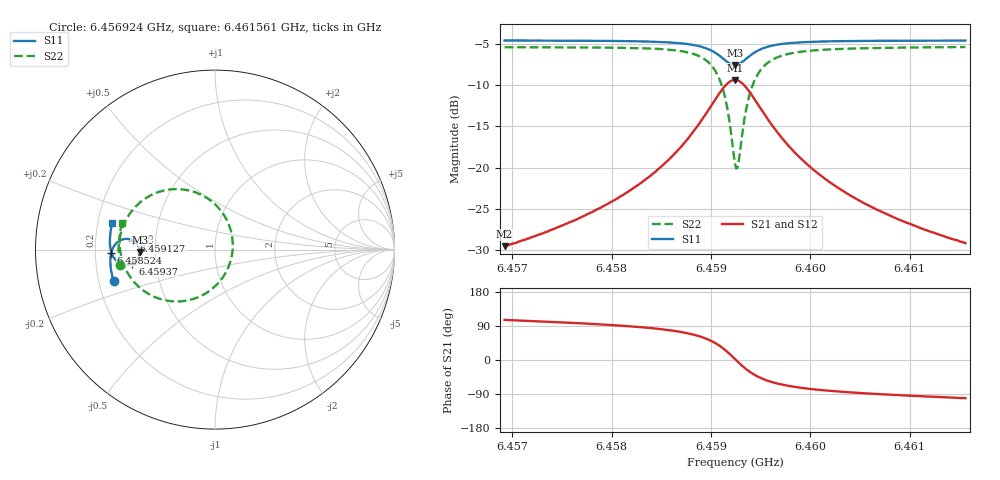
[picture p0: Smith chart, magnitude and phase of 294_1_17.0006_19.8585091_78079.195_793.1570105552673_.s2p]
#  HZ  S  RI  R  50.00
! Rohde & Schwarz Vector Network Analyzer
! Rohde-Schwarz,ZNB20-2Port,1311601062101988,3.16
! Created: UTC 3/20/2024, 11:05:13 PM
! freq[Hz]  re:S11  im:S11  re:S21  im:S21  re:S12  im:S12  re:S22  im:S22
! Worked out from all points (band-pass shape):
!   401 points, 6.456924 GHz to 6.461561 GHz, reference 50 ohm
!   highest |S21| = -9.35 dB at 6.459243 GHz (marker M1); lowest = -29.6 dB at 6.456924 GHz (marker M2)
!   |S21| within 3 dB of the highest: 6.45901 GHz to 6.459475 GHz (464.4 kHz wide, 0.00719 % of centre)
!   lowest |S11| = -7.5 dB at 6.459243 GHz (marker M3), VSWR 2.44, Z = 20.5 - j0.63 ohm
!   |S11| at or under -10 dB: nowhere
!   |S22| runs from -20.1 to -5.3 dB; largest |S21 - S12| = 0.013
!   S11 on the Smith chart (normalised r, x): 6.456924 GHz: 0.26, -0.14; 6.458524 GHz: 0.27, -0.01; 6.459127 GHz: 0.37, +0.05; 6.45937 GHz: 0.37, -0.07; 6.461561 GHz: 0.26, +0.12
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6.4569243e9  -0.5653 -0.1766  -0.00915 0.032  -0.00725 0.0319  -0.5315 -0.0861
6.4577009e9  -0.5799 -0.1089  -0.00578 0.0497  -0.00323 0.0491  -0.5374 0.00358
6.4581182e9  -0.5831 -0.0674  -0.000194 0.0682  0.00292 0.067  -0.53 0.0684
6.4584776e9  -0.5796 -0.0246  0.0136 0.0975  0.0176 0.0949  -0.5047 0.1474
6.4585239e9  -0.5782 -0.0184  0.0169 0.103  0.021 0.1001  -0.4986 0.1605
6.4587326e9  -0.5662 0.0135  0.0427 0.1343  0.0469 0.1297  -0.4503 0.231
6.4588833e9  -0.5451 0.0398  0.085 0.1645  0.0882 0.1578  -0.3729 0.2942
6.459034e9  -0.4991 0.0596  0.1758 0.1833  0.1768 0.1759  -0.2079 0.337
6.4591267e9  -0.4548 0.0497  0.2645 0.1526  0.2649 0.1465  -0.0447 0.2874
6.4591731e9  -0.4338 0.031  0.3076 0.1102  0.309 0.1049  0.0362 0.2125
6.4592426e9  -0.4191 -0.0127  0.3406 0.0146  0.3439 0.00767  0.099 0.0364
6.4592542e9  -0.4194 -0.0206  0.3404 -0.00293  0.3439 -0.0105  0.0986 0.00348
6.4592774e9  -0.4228 -0.0361  0.335 -0.037  0.3385 -0.046  0.0875 -0.0607
6.4593701e9  -0.46 -0.0782  0.2656 -0.1365  0.2646 -0.1493  -0.0519 -0.2439
6.4594165e9  -0.4826 -0.0851  0.2218 -0.1589  0.2179 -0.1713  -0.1391 -0.2799
6.4594744e9  -0.5075 -0.0844  0.1733 -0.1682  0.1667 -0.179  -0.2342 -0.2884
6.4596251e9  -0.5489 -0.0629  0.0911 -0.1521  0.0827 -0.1578  -0.3888 -0.2354
6.4597874e9  -0.5691 -0.0353  0.0491 -0.1251  0.0417 -0.1275  -0.463 -0.1654
6.4600192e9  -0.581 -0.00171  0.0224 -0.0958  0.0165 -0.0965  -0.5065 -0.0889
6.4603554e9  -0.5858 0.038  0.00681 -0.07  0.00263 -0.0697  -0.5272 -0.013
6.4607959e9  -0.5839 0.0822  -0.00138 -0.0511  -0.00408 -0.0503  -0.5315 0.0567
6.4615609e9  -0.5719 0.1499  -0.00647 -0.0341  -0.00809 -0.0331  -0.5201 0.1459
